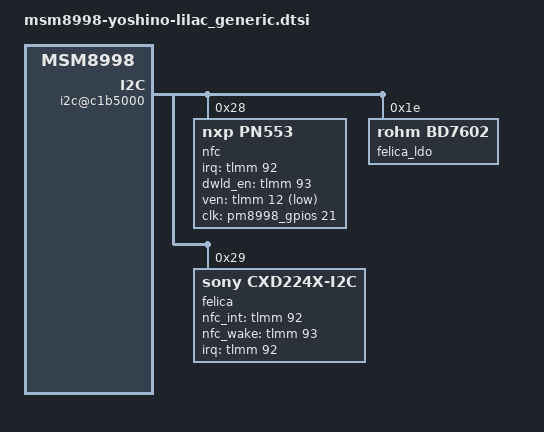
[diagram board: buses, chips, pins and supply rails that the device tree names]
/* arch/arm64/boot/dts/qcom/msm8998-lilac_generic.dtsi
 *
 * This program is free software; you can redistribute it and/or modify
 * it under the terms of the GNU General Public License version 2 and
 * only version 2 as published by the Free Software Foundation.
 *
 * This program is distributed in the hope that it will be useful,
 * but WITHOUT ANY WARRANTY; without even the implied warranty of
 * MERCHANTABILITY or FITNESS FOR A PARTICULAR PURPOSE.  See the
 * GNU General Public License for more details.
 */
/*
 * Copyright (C) 2016 Sony Mobile Communications Inc.
 *
 * This program is free software; you can redistribute it and/or modify
 * it under the terms of the GNU General Public License version 2, as
 * published by the Free Software Foundation.
 */

#include "msm8998-yoshino-lilac_common.dtsi"

/*
 * BOTH NFC controllers are described here, because one kernel image serves both
 * the G8441 (NXP PN553) and the docomo SO-02K / lilac_dcm (Sony CXD224x + ROHM
 * BD7602 FeliCa). Only the node matching the hardware actually present will have
 * a driver bound to it.
 *
 * This is only safe because both drivers are built as MODULES and exactly one is
 * loaded per boot (see the nfc_variant selection in device/sony/lilac). Do not
 * change either to =y: the two nodes deliberately share GPIO 92 (the IRQ line,
 * NFC_IRQ_FELICA_INT_N) and GPIO 93, and neither driver's probe checks whether
 * its chip is actually on the bus — both call i2c_check_functionality, which only
 * tests the ADAPTER, and then go straight to gpio_request. Built in together they
 * would race for those pins and whichever probed first would lock the other out.
 *
 * The DCM variant previously had its own DTB (msm8998-v2.1-yoshino-lilac_dcm.dtb),
 * which could not work as an auto-selected alternative anyway: both it and the
 * generic DTB declare qcom,board-id = <8 0>, so the bootloader has nothing to tell
 * them apart.
 */
&soc {
	/* I2C : BLSP7 */
	i2c@c1b5000 { /* BLSP2 QUP1 */
		/* G8441 (ROW): NXP PN553 */
		nfc@28 {
			compatible = "nxp,pn553";
			reg = <0x28>;
			interrupt-parent = <&tlmm>;
			interrupts = <92 0x1>;
			nxp,irq_gpio = <&tlmm 92 0x00>;
			nxp,dwld_en = <&tlmm 93 0x00>;
			nxp,ven = <&tlmm 12 0x01>;
			qcom,clk-src = "BBCLK2";
			qcom,clk-gpio = <&pm8998_gpios 21 0x00>;
			clocks = <&clock_gcc clk_ln_bb_clk3_pin>;
			clock-names = "nfc_clk";
		};

		/* SO-02K (docomo): ROHM BD7602 FeliCa LDO + Sony CXD224x */
		felica_ldo@1e {
			compatible = "rohm,bd7602";
			reg = <0x1e>;
		};
		felica@29 {
			compatible = "sony,cxd224x-i2c";
			reg = <0x29>;
			interrupt-parent = <&tlmm>;
			interrupts = <92 0x2002>;
			sony,nfc_int = <&tlmm 92 0>;
			sony,nfc_wake = <&tlmm 93 0>;

			pinctrl-names = "felica_active","felica_suspend";
			pinctrl-0 = <&msm_gpio_92>;
			pinctrl-1 = <&msm_gpio_92>;

			/* Defined in Clock Distribution */
			clocks = <&clock_gcc clk_ln_bb_clk3_pin>;
			clock-names = "felica_clk";
		};
	};

	nfc,pm-ops {
		compatible = "sony,pn553-pm-ops";
	};

	felica,pm-ops {
		compatible = "sony,cxd224x-pm-ops";
	};

	somc_pinctrl: somc_pinctrl {
		/* If variant specific default setting is needed,
		   fill pinctrl-2 value in <variant>.dtsi */
		pinctrl-2 = <&msm_gpio_92>;
	};
};

&tlmm {
	/* GPIO_92 : NFC_IRQ_FELICA_INT_N */
	msm_gpio_92: msm_gpio_92 {
		mux {
			pins = "gpio92";
			function = "gpio";
		};

		config {
			pins = "gpio92";
			drive-strength = <2>;
			bias-pull-down;
			input-enable;
		};
	};
};
